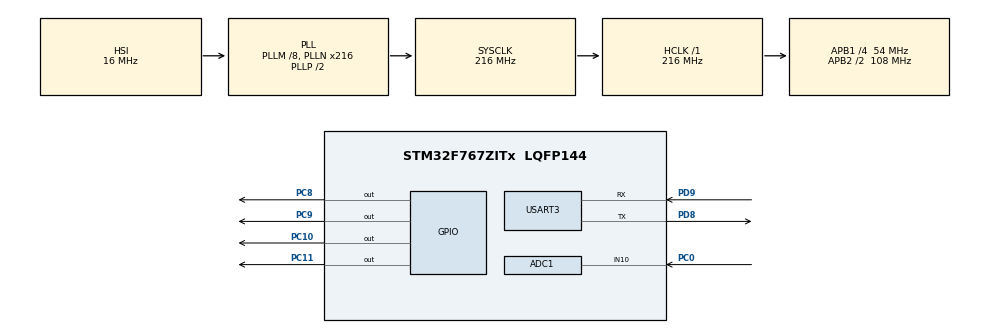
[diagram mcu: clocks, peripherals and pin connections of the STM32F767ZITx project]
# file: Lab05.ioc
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ADC1.Channel-0\#ChannelRegularConversion=ADC_CHANNEL_10
ADC1.ContinuousConvMode=ENABLE
ADC1.EOCSelection=ADC_EOC_SEQ_CONV
ADC1.NbrOfConversionFlag=1
ADC1.Rank-0\#ChannelRegularConversion=1
ADC1.SamplingTime-0\#ChannelRegularConversion=ADC_SAMPLETIME_3CYCLES
ADC1.master=1
CORTEX_M7.default_mode_Activation=1
Mcu.Family=STM32F7
Mcu.Name=STM32F767ZITx
Mcu.Package=LQFP144
NVIC.PriorityGroup=NVIC_PRIORITYGROUP_4
PC0.Signal=ADCx_IN10
PC10.Signal=GPIO_Output
PC11.Signal=GPIO_Output
PC8.Signal=GPIO_Output
PC9.Signal=GPIO_Output
PD8.Mode=Asynchronous
PD8.Signal=USART3_TX
PD9.Mode=Asynchronous
PD9.Signal=USART3_RX
ProjectManager.HeapSize=0x200
ProjectManager.StackSize=0x400
ProjectManager.TargetToolchain=STM32CubeIDE
RCC.AHBFreq_Value=216000000
RCC.APB1CLKDivider=RCC_HCLK_DIV4
RCC.APB1Freq_Value=54000000
RCC.APB1TimFreq_Value=108000000
RCC.APB2CLKDivider=RCC_HCLK_DIV2
RCC.APB2Freq_Value=108000000
RCC.APB2TimFreq_Value=216000000
RCC.CortexFreq_Value=216000000
RCC.HCLKFreq_Value=216000000
RCC.HSE_VALUE=25000000
RCC.HSI_VALUE=16000000
RCC.LSE_VALUE=32768
RCC.PLLM=8
RCC.PLLN=216
RCC.SYSCLKFreq_VALUE=216000000
RCC.SYSCLKSource=RCC_SYSCLKSOURCE_PLLCLK
RCC.USBFreq_Value=216000000
RCC.VCOOutputFreq_Value=432000000
SH.ADCx_IN10.0=ADC1_IN10,IN10
USART3.VirtualMode-Asynchronous=VM_ASYNC
board=custom

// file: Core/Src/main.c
/* USER CODE BEGIN Header */
/**
  ******************************************************************************
  * @file           : main.c
  * @brief          : Main program body
  ******************************************************************************
  * @attention
  *
  * Copyright (c) 2025 STMicroelectronics.
  * All rights reserved.
  *
  * This software is licensed under terms that can be found in the LICENSE file
  * in the root directory of this software component.
  * If no LICENSE file comes with this software, it is provided AS-IS.
  *
  ******************************************************************************
  */
/* USER CODE END Header */
#include "main.h"
#include "adc.h"
#include "usart.h"
#include "gpio.h"

/* USER CODE BEGIN Includes */
#include "stdio.h"
#include "string.h"
/* USER CODE END Includes */

/* USER CODE BEGIN PV */
volatile uint32_t adc_val = 0;
int adc_avg_8 = 0;
int adc_avg_16 = 0;

/* USER CODE END PV */

void SystemClock_Config(void);
static void MPU_Config(void);
/* USER CODE BEGIN PFP */
void displayHEX(uint32_t num){
    char hex_num[50];
    int len = sprintf(hex_num, "0x%08lX", num);
    HAL_UART_Transmit(&huart3, (uint8_t*)hex_num, len, 1000);
}

void displayVolt(uint32_t val){
    uint32_t num = (val * 330) / 4095;
    uint32_t num1 = num / 100;
    uint32_t num2  = num % 100;
	char volt_num[50];
	int len = sprintf(volt_num, "%lu.%02lu", num1, num2);
	HAL_UART_Transmit(&huart3, (uint8_t*)volt_num, len, 1000);
}

int average_8(int x){
	static int samples[8];
	static int i = 0;
	static int total = 0;
	total += x - samples[i];
	samples[i] = x;

	i = (i==7 ? 0 : i+1);

	return total>>3;
}

int average_16(int x){
	static int samples[16];
	static int i = 0;
	static int total = 0;

	total += x - samples[i];
	samples[i] = x;

	i = (i==15 ? 0 : i+1);

	return total>>4;
}

/* USER CODE END PFP */

int main(void)
{

  /* MPU Configuration--------------------------------------------------------*/
  MPU_Config();

  /* MCU Configuration--------------------------------------------------------*/

  /* Reset of all peripherals, Initializes the Flash interface and the Systick. */
  HAL_Init();

  /* Configure the system clock */
  SystemClock_Config();

  /* Initialize all configured peripherals */
  MX_GPIO_Init();
  MX_ADC1_Init();
  MX_USART3_UART_Init();
  /* USER CODE BEGIN 2 */
  HAL_ADC_Start(&hadc1);
  /* USER CODE END 2 */

  /* Infinite loop */
  while (1)
  {

    /* USER CODE BEGIN 3 */
//    1.
//	  uint32_t hex1 = 501;
//	  displayHEX(hex1);
//	  HAL_Delay(500);

//	  2. and 3.
//	  while (HAL_ADC_PollForConversion(&hadc1, 100) != HAL_OK){}
//	  adc_val = HAL_ADC_GetValue(&hadc1);
//	  while(__HAL_UART_GET_FLAG(&huart3,UART_FLAG_TC)==RESET){}
//	  HAL_UART_Transmit(&huart3, (uint8_t*) "ADC1_CH10 ", strlen("ADC1_CH10 "),1000);
//	  displayHEX(adc_val);
//	  while(__HAL_UART_GET_FLAG(&huart3,UART_FLAG_TC)==RESET){}
//	  HAL_UART_Transmit(&huart3, (uint8_t*) "  Vin = ", strlen("  Vin = "),1000);
//	  displayVolt(adc_val);
//	  while(__HAL_UART_GET_FLAG(&huart3,UART_FLAG_TC)==RESET){}
//	  HAL_UART_Transmit(&huart3, (uint8_t*) "V\r\n", strlen("V\r\n"),1000);
//	  HAL_Delay(400);
//	  4.
	  while (HAL_ADC_PollForConversion(&hadc1, 100) != HAL_OK){}
	  adc_val = HAL_ADC_GetValue(&hadc1);
	  adc_avg_8 = average_8(adc_val);
	  adc_avg_16 = average_16(adc_val);
	  HAL_Delay(400);
//	  5.
	  HAL_GPIO_WritePin(GPIOC, GPIO_PIN_8 | GPIO_PIN_9 | GPIO_PIN_10 | GPIO_PIN_11, GPIO_PIN_RESET);
//	  while (HAL_ADC_PollForConversion(&hadc1, 100) != HAL_OK){}
//	  adc_val = HAL_ADC_GetValue(&hadc1);
	  while(__HAL_UART_GET_FLAG(&huart3,UART_FLAG_TC)==RESET){}
	  HAL_UART_Transmit(&huart3, (uint8_t*) "ADC1_CH10 ", strlen("ADC1_CH10 "),1000);
	  displayHEX(adc_val);

	  while(__HAL_UART_GET_FLAG(&huart3,UART_FLAG_TC)==RESET){}
	  HAL_UART_Transmit(&huart3, (uint8_t*) "  Vin = ", strlen("  Vin = "),1000);
	  displayVolt(adc_val);
	  while(__HAL_UART_GET_FLAG(&huart3,UART_FLAG_TC)==RESET){}
	  HAL_UART_Transmit(&huart3, (uint8_t*) "V\r\n", strlen("V\r\n"),1000);
	  if (adc_val >= 820 && adc_val <= 1638){
		  HAL_GPIO_WritePin(GPIOC, GPIO_PIN_8, GPIO_PIN_SET);
	  }
	  else if (adc_val >= 1639 && adc_val <= 2457){
		  HAL_GPIO_WritePin(GPIOC, GPIO_PIN_8 | GPIO_PIN_9, GPIO_PIN_SET);
	  }
	  else if (adc_val >= 2458 && adc_val <= 3276){
		  HAL_GPIO_WritePin(GPIOC, GPIO_PIN_8 | GPIO_PIN_9 | GPIO_PIN_10, GPIO_PIN_SET);
	  }
	  else if (adc_val >= 3277 && adc_val <= 4095){
		  HAL_GPIO_WritePin(GPIOC, GPIO_PIN_8 | GPIO_PIN_9 | GPIO_PIN_10 | GPIO_PIN_11, GPIO_PIN_SET);
	  }
	  HAL_Delay(400);
  }
  /* USER CODE END 3 */
}

void SystemClock_Config(void)
{
  RCC_OscInitTypeDef RCC_OscInitStruct = {0};
  RCC_ClkInitTypeDef RCC_ClkInitStruct = {0};

  /** Configure the main internal regulator output voltage
  */
  __HAL_RCC_PWR_CLK_ENABLE();
  __HAL_PWR_VOLTAGESCALING_CONFIG(PWR_REGULATOR_VOLTAGE_SCALE1);

  /** Initializes the RCC Oscillators according to the specified parameters
  * in the RCC_OscInitTypeDef structure.
  */
  RCC_OscInitStruct.OscillatorType = RCC_OSCILLATORTYPE_HSI;
  RCC_OscInitStruct.HSIState = RCC_HSI_ON;
  RCC_OscInitStruct.HSICalibrationValue = RCC_HSICALIBRATION_DEFAULT;
  RCC_OscInitStruct.PLL.PLLState = RCC_PLL_ON;
  RCC_OscInitStruct.PLL.PLLSource = RCC_PLLSOURCE_HSI;
  RCC_OscInitStruct.PLL.PLLM = 8;
  RCC_OscInitStruct.PLL.PLLN = 216;
  RCC_OscInitStruct.PLL.PLLP = RCC_PLLP_DIV2;
  RCC_OscInitStruct.PLL.PLLQ = 2;
  RCC_OscInitStruct.PLL.PLLR = 2;
  if (HAL_RCC_OscConfig(&RCC_OscInitStruct) != HAL_OK)
  {
    Error_Handler();
  }

  /** Activate the Over-Drive mode
  */
  if (HAL_PWREx_EnableOverDrive() != HAL_OK)
  {
    Error_Handler();
  }

  /** Initializes the CPU, AHB and APB buses clocks
  */
  RCC_ClkInitStruct.ClockType = RCC_CLOCKTYPE_HCLK|RCC_CLOCKTYPE_SYSCLK
                              |RCC_CLOCKTYPE_PCLK1|RCC_CLOCKTYPE_PCLK2;
  RCC_ClkInitStruct.SYSCLKSource = RCC_SYSCLKSOURCE_PLLCLK;
  RCC_ClkInitStruct.AHBCLKDivider = RCC_SYSCLK_DIV1;
  RCC_ClkInitStruct.APB1CLKDivider = RCC_HCLK_DIV4;
  RCC_ClkInitStruct.APB2CLKDivider = RCC_HCLK_DIV2;

  if (HAL_RCC_ClockConfig(&RCC_ClkInitStruct, FLASH_LATENCY_7) != HAL_OK)
  {
    Error_Handler();
  }
}

 /* MPU Configuration */

void MPU_Config(void)
{
  MPU_Region_InitTypeDef MPU_InitStruct = {0};

  /* Disables the MPU */
  HAL_MPU_Disable();

  /** Initializes and configures the Region and the memory to be protected
  */
  MPU_InitStruct.Enable = MPU_REGION_ENABLE;
  MPU_InitStruct.Number = MPU_REGION_NUMBER0;
  MPU_InitStruct.BaseAddress = 0x0;
  MPU_InitStruct.Size = MPU_REGION_SIZE_4GB;
  MPU_InitStruct.SubRegionDisable = 0x87;
  MPU_InitStruct.TypeExtField = MPU_TEX_LEVEL0;
  MPU_InitStruct.AccessPermission = MPU_REGION_NO_ACCESS;
  MPU_InitStruct.DisableExec = MPU_INSTRUCTION_ACCESS_DISABLE;
  MPU_InitStruct.IsShareable = MPU_ACCESS_SHAREABLE;
  MPU_InitStruct.IsCacheable = MPU_ACCESS_NOT_CACHEABLE;
  MPU_InitStruct.IsBufferable = MPU_ACCESS_NOT_BUFFERABLE;

  HAL_MPU_ConfigRegion(&MPU_InitStruct);
  /* Enables the MPU */
  HAL_MPU_Enable(MPU_PRIVILEGED_DEFAULT);

}

void Error_Handler(void)
{
  __disable_irq();
  while (1)
  {
  }
}
